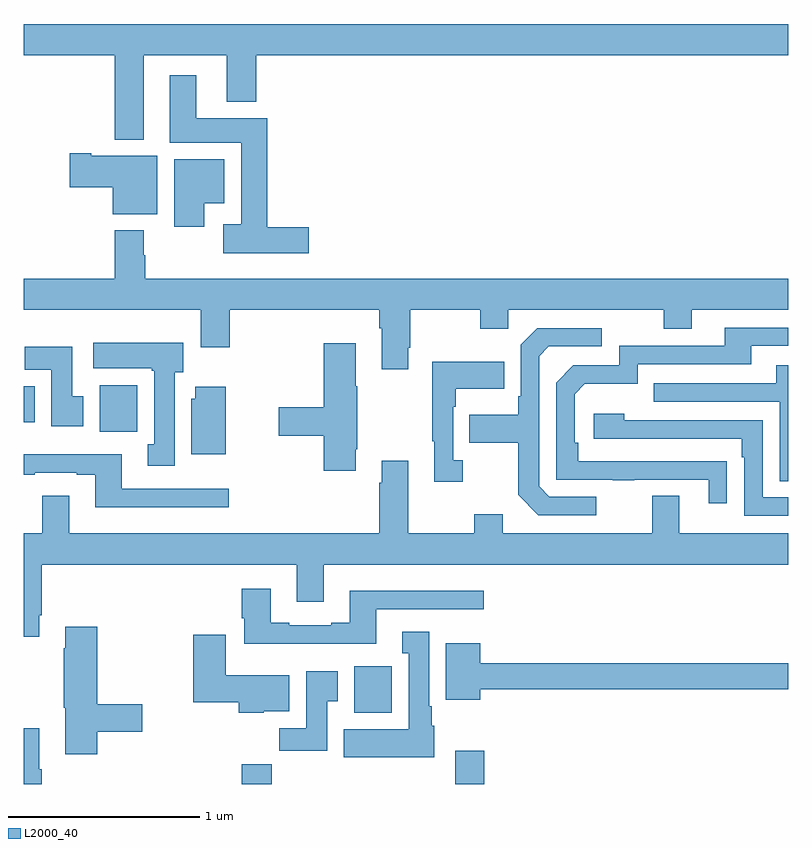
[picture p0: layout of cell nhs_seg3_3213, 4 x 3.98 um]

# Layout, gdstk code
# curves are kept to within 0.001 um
import gdstk
lib = gdstk.Library(unit=1e-6, precision=1e-09)
def R(c, l, rs):  # rectangles x0, y0, x1, y1
    for r in rs: c.add(gdstk.rectangle(r[:2], r[2:], *l))
def P(c, l, *ps):  # polygons
    for p in ps: c.add(gdstk.Polygon(p, *l))
L2000_40 = (2000, 40)

nhs_seg3_3213 = lib.new_cell('nhs_seg3_3213')
R(nhs_seg3_3213, L2000_40, [(278.141,734.4,278.297,734.504), (279.257,734.4,279.41,734.575), (278.729,734.774,278.926,735.016), (277.397,736.244,277.594,736.486), (277,736.292,277.057,736.48)])
P(nhs_seg3_3213, L2000_40, [(277.627,738.212),(278.063,738.212),(278.063,737.969),(278.216,737.969),(278.216,738.212),(281,738.212),(281,738.376),(277,738.376),(277,738.212),(277.475,738.212),(277.475,737.771),(277.627,737.771)],
  [(278.491,737.312),(278.273,737.312),(278.273,737.884),(277.903,737.884),(277.903,738.109),(277.763,738.109),(277.763,737.756),(278.138,737.756),(278.138,737.329),(278.043,737.329),(278.043,737.177),(278.491,737.177)],
  [(277.699,737.686),(277.354,737.686),(277.354,737.699),(277.242,737.699),(277.242,737.521),(277.466,737.521),(277.466,737.381),(277.699,737.381)],
  [(277.945,737.438),(278.05,737.438),(278.05,737.668),(277.787,737.668),(277.787,737.316),(277.945,737.316)],
  [(279.013,736.681),(279.021,736.681),(279.021,736.88),(279.388,736.88),(279.388,736.781),(279.534,736.781),(279.534,736.88),(280.348,736.88),(280.348,736.781),(280.495,736.781),(280.495,736.88),(281,736.88),(281,737.044),(277.635,737.044),(277.635,737.165),(277.627,737.165),(277.627,737.296),(277.475,737.296),(277.475,737.044),(277,737.044),(277,736.88),(277.925,736.88),(277.925,736.686),(278.078,736.686),(278.078,736.88),(278.861,736.88),(278.861,736.784),(278.873,736.784),(278.873,736.569),(279.013,736.569)],
  [(280.679,736.088),(279.902,736.089),(279.902,736.186),(279.882,736.186),(279.882,736.44),(279.935,736.493),(280.212,736.493),(280.212,736.596),(280.807,736.596),(280.807,736.692),(281,736.692),(281,736.788),(280.667,736.788),(280.667,736.692),(280.116,736.692),(280.116,736.59),(279.876,736.59),(279.786,736.5),(279.786,735.993),(280.081,735.993),(280.081,735.988),(280.193,735.988),(280.193,735.993),(280.583,735.993),(280.583,735.87),(280.679,735.87)],
  [(279.994,735.903),(279.75,735.903),(279.696,735.957),(279.696,736.638),(279.747,736.689),(280.024,736.689),(280.024,736.785),(279.687,736.785),(279.6,736.698),(279.6,736.429),(279.588,736.429),(279.588,736.333),(279.331,736.333),(279.331,736.186),(279.588,736.186),(279.588,735.913),(279.693,735.807),(279.994,735.807)],
  [(277.789,736.554),(277.834,736.554),(277.834,736.708),(277.365,736.708),(277.365,736.574),(277.669,736.574),(277.669,736.561),(277.682,736.561),(277.682,736.178),(277.649,736.178),(277.649,736.065),(277.789,736.065)],
  [(278.737,736.15),(278.745,736.15),(278.745,736.481),(278.737,736.481),(278.737,736.705),(278.57,736.705),(278.57,736.37),(278.334,736.37),(278.334,736.223),(278.57,736.223),(278.57,736.038),(278.737,736.038)],
  [(277.312,736.428),(277.255,736.428),(277.255,736.687),(277.006,736.687),(277.006,736.568),(277.145,736.568),(277.145,736.272),(277.312,736.272)],
  [(279.298,736.094),(279.246,736.094),(279.246,736.373),(279.259,736.373),(279.259,736.469),(279.515,736.469),(279.515,736.609),(279.138,736.609),(279.138,736.193),(279.149,736.193),(279.149,735.981),(279.298,735.981)],
  [(281,736.591),(280.937,736.591),(280.937,736.497),(280.297,736.497),(280.297,736.401),(280.956,736.401),(280.956,735.985),(281,735.985)],
  [(278.056,736.477),(277.898,736.477),(277.898,736.416),(277.877,736.416),(277.877,736.124),(278.056,736.124)],
  [(281,735.9),(280.866,735.9),(280.866,736.302),(280.142,736.302),(280.142,736.336),(279.981,736.336),(279.981,736.206),(280.757,736.206),(280.757,736.109),(280.77,736.109),(280.77,735.804),(281,735.804)],
  [(278.074,735.945),(277.513,735.945),(277.513,736.126),(277,736.126),(277,736.017),(277.057,736.017),(277.057,736.029),(277.277,736.029),(277.277,736.017),(277.373,736.017),(277.373,735.848),(278.074,735.848)],
  [(278.429,735.354),(278.569,735.354),(278.569,735.548),(281,735.548),(281,735.712),(280.429,735.712),(280.429,735.907),(280.289,735.907),(280.289,735.712),(279.505,735.712),(279.505,735.811),(279.358,735.811),(279.358,735.712),(279.013,735.712),(279.013,736.09),(278.873,736.09),(278.873,735.977),(278.861,735.977),(278.861,735.712),(277.237,735.712),(277.237,735.907),(277.097,735.907),(277.097,735.712),(277,735.712),(277,735.171),(277.081,735.171),(277.081,735.283),(277.094,735.283),(277.094,735.548),(278.429,735.548)],
  [(278.845,735.315),(279.406,735.315),(279.406,735.412),(278.705,735.412),(278.705,735.244),(278.609,735.244),(278.609,735.231),(278.389,735.231),(278.389,735.244),(278.293,735.244),(278.293,735.421),(278.141,735.421),(278.141,735.268),(278.153,735.268),(278.153,735.134),(278.845,735.134)],
  [(277.385,734.674),(277.621,734.674),(277.621,734.816),(277.385,734.816),(277.385,735.223),(277.217,735.223),(277.217,735.11),(277.21,735.11),(277.21,734.799),(277.217,734.799),(277.217,734.556),(277.385,734.556)],
  [(279.148,734.706),(279.136,734.706),(279.136,734.806),(279.121,734.806),(279.121,735.196),(278.981,735.196),(278.981,735.083),(279.014,735.083),(279.014,734.686),(278.675,734.686),(278.675,734.54),(279.148,734.54)],
  [(278.256,734.78),(278.389,734.78),(278.389,734.968),(278.056,734.968),(278.056,735.181),(277.886,735.181),(277.886,734.828),(278.126,734.828),(278.126,734.774),(278.256,734.774)],
  [(279.388,734.896),(281,734.896),(281,735.032),(279.388,735.032),(279.388,735.136),(279.209,735.136),(279.209,734.84),(279.388,734.84)],
  [(278.587,734.833),(278.644,734.833),(278.644,734.989),(278.477,734.989),(278.477,734.692),(278.338,734.692),(278.338,734.574),(278.587,734.574)],
  [(277.094,734.476),(277.081,734.476),(277.081,734.692),(277,734.692),(277,734.4),(277.094,734.4)])

lib.write_gds('nhs_seg3_3213.gds')
